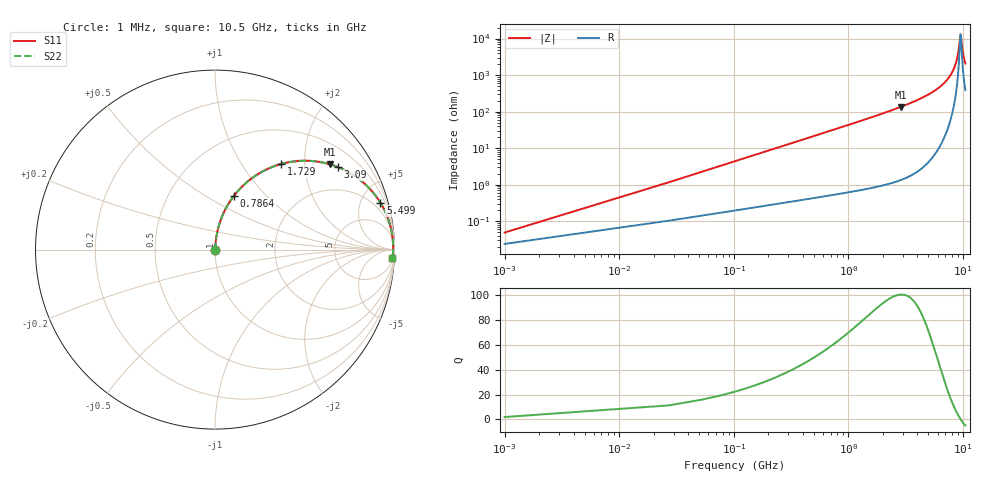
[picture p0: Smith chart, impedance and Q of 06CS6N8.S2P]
! Coilcraft 0603CS-6N8 Chip Inductor
! 21 May 2002
# MHZ S MA R 50
!Freq  MagS11  AngS11  MagS21  AngS21  MagS12  AngS12  MagS22  AngS22
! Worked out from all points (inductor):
!   403 points, 1 MHz to 10.5 GHz, reference 50 ohm
!   read as one part in series: L = 6.8 nH near 53.36 MHz
!   highest Q = 101 at 2.855 GHz (marker M1), where L = 7.47 nH
!   self-resonance near 9.531 GHz
!   S11 on the Smith chart (normalised r, x): 1 MHz: 1.00, +0.00; 786.4 MHz: 1.01, +0.68; 1.729 GHz: 1.02, +1.53; 3.09 GHz: 1.03, +2.95; 5.499 GHz: 1.12, +7.04; 10.5 GHz: 9, -41
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1  0.0004894 60.8  0.9998 -0.0  0.9998 -0.0  0.0004894 60.8
79.54  0.03395 85.1  0.9977 -1.9  0.9977 -1.9  0.03395 85.1
158.08  0.06729 84.1  0.9953 -3.9  0.9953 -3.9  0.06729 84.1
262.8  0.1114 82.0  0.9907 -6.4  0.9907 -6.4  0.1114 82.0
393.7  0.1656 79.2  0.9825 -9.5  0.9825 -9.5  0.1656 79.2
786.4  0.3189 70.5  0.9427 -18.6  0.9427 -18.6  0.3189 70.5
1728.88  0.6038 52.2  0.7904 -37.1  0.7904 -37.1  0.6038 52.2
1755.06  0.6099 51.8  0.7857 -37.6  0.7857 -37.6  0.6099 51.8
2854.62  0.7976 36.5  0.5953 -52.9  0.5953 -52.9  0.7976 36.5
3090.24  0.824 33.9  0.5585 -55.5  0.5585 -55.5  0.824 33.9
3509.12  0.8625 29.8  0.4973 -59.6  0.4973 -59.6  0.8625 29.8
5263.18  0.9513 17.1  0.2941 -72.0  0.2941 -72.0  0.9513 17.1
5498.8  0.9577 15.8  0.272 -73.3  0.272 -73.3  0.9577 15.8
7017.24  0.9834 8.6  0.1504 -79.3  0.1504 -79.3  0.9834 8.6
8064.44  0.9905 4.7  0.08203 -81.0  0.08203 -81.0  0.9905 4.7
8771.3  0.9924 2.3  0.04127 -78.2  0.04127 -78.2  0.9924 2.3
9111.64  0.9926 1.3  0.02327 -70.7  0.02327 -70.7  0.9926 1.3
9451.98  0.9924 0.2  0.008703 -29.1  0.008703 -29.1  0.9924 0.2
9530.52  0.9923 0.0  0.007683 -1.8  0.007683 -1.8  0.9923 0.0
9609.06  0.9922 -0.2  0.008634 25.6  0.008634 25.6  0.9922 -0.2
10001.76  0.9915 -1.3  0.02467 69.1  0.02467 69.1  0.9915 -1.3
10500  0.99 -2.7  0.04772 76.5  0.04772 76.5  0.99 -2.7
